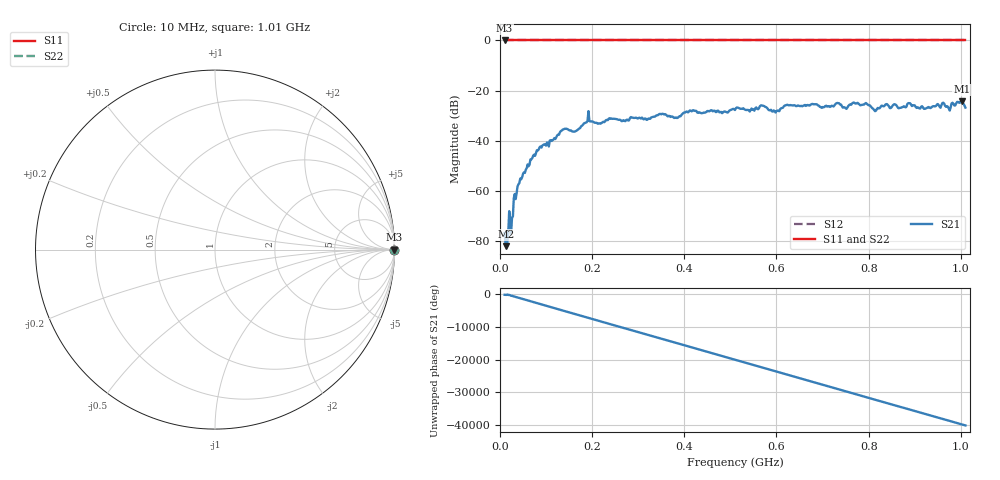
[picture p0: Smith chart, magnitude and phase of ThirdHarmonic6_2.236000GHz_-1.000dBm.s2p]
! 8/17/2025 2:35:03 AM
! C:\ANRITSUVNA\TEMP\TEMP.S2P
! CHANNEL.1
! TR.MEASUREMENT
! RAW.DATA
! RF.CORRECTION.OFF
! AVERAGING.OFF
! IF.BANDWIDTH: 5KHZ
! SWEEPTYPE:  FREQ.SWEEP(Linear)
! Reference Plane Port Info
! PORT:  PORT1  PORT2
! DISTANCE:  0  m  0  m
! TIME:  0  s  0  s
! PHASE.OFFSET:  0  deg.  0  deg.
! LOSS:  0  dB  0  dB
! REF.LOSS:  0  dB  0  dB
! REF.FREQ:  0  Hz  0  Hz
! Power Info
! POWER:  -20  dBm  -20  dBm
! EFF.POWER:  -20  dBm  -20  dBm
! SOURCE.ATTEN:  0  dB  0  dB
! TEST.ATTEN:  0  dB  0  dB
# GHZ S RI R 50.0
! FREQ.GHZ  S11RE  S11IM  S21RE  S21IM  S12RE  S12IM  S22RE  S22IM
!; PortSelection: Port_12
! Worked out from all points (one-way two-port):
!   501 points, 10 MHz to 1.01 GHz, reference 50 ohm
!   highest |S21| = -24.19 dB at 1.002 GHz (marker M1); lowest = -81.9 dB at 14 MHz (marker M2)
!   lowest |S11| = 0.0 dB at 10 MHz (marker M3)
!   |S11| at or under -10 dB: nowhere
!   |S22| runs from 0.0 to 0.0 dB; largest |S21 - S12| = 1.1
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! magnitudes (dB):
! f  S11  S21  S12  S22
! 10 MHz  0.0  -76.6  0.0  0.0
! 14 MHz  0.0  -81.9  0.0  0.0
! 40 MHz  0.0  -57.3  0.0  0.0
! 70 MHz  0.0  -46.8  0.0  0.0
! 136 MHz  0.0  -35.5  0.0  0.0
! 162 MHz  0.0  -36.3  0.0  0.0
! 178 MHz  0.0  -33.9  0.0  0.0
! 194 MHz  0.0  -32.1  0.0  0.0
! 216 MHz  0.0  -33.0  0.0  0.0
! 344 MHz  0.0  -29.5  0.0  0.0
! 382 MHz  0.0  -30.7  0.0  0.0
! 416 MHz  0.0  -28.2  0.0  0.0
! 510 MHz  0.0  -27.7  0.0  0.0
! 570 MHz  0.0  -26.0  0.0  0.0
! 602 MHz  0.0  -27.9  0.0  0.0
! 622 MHz  0.0  -25.6  0.0  0.0
! 678 MHz  0.0  -25.2  0.0  0.0
! 814 MHz  0.0  -28.1  0.0  0.0
! 844 MHz  0.0  -26.1  0.0  0.0
! 974 MHz  0.0  -27.1  0.0  0.0
! 1.002 GHz  0.0  -24.2  0.0  0.0
! 1.01 GHz  0.0  -26.7  0.0  0.0
